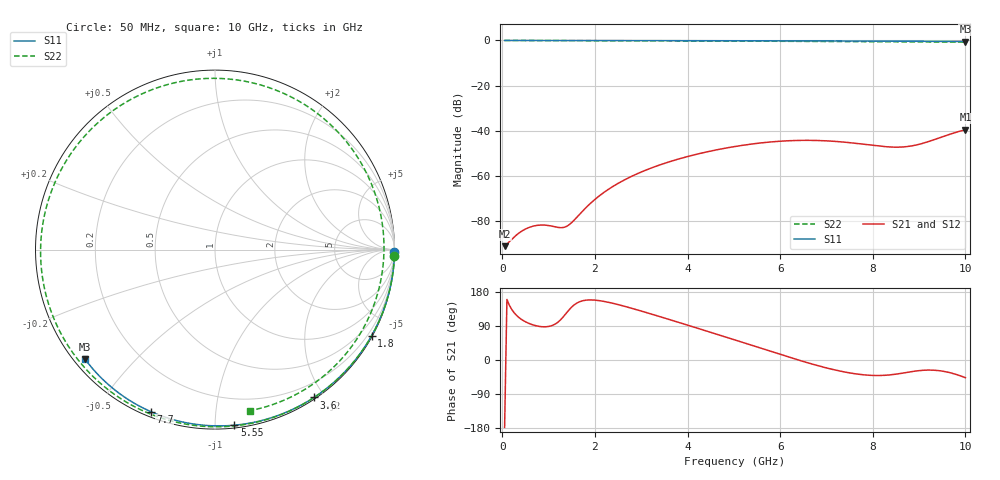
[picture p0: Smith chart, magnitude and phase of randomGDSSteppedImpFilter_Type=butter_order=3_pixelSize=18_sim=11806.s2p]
! freq	dB(S11)	phase(S11)	dB(S12)	phase(S12)
!  dB(S21)	phase(S21)	dB(S22)	phase(S22)
!S-par simulation data
#  GHz  S  DB  R 50
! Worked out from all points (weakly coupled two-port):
!   200 points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, 50 MHz to 10 GHz, reference 50 ohm
!   highest |S21| = -39.62 dB at 10 GHz (marker M1); lowest = -91.2 dB at 50 MHz (marker M2)
!   lowest |S11| = -0.5 dB at 10 GHz (marker M3), VSWR 36.56, Z = 1.55 - j18.2 ohm
!   |S11| at or under -10 dB: nowhere
!   |S22| runs from -0.7 to 0.0 dB; largest |S21 - S12| = 0
!   S11 on the Smith chart (normalised r, x): 50 MHz: open; 1.8 GHz: 0.03, -3.90; 3.6 GHz: 0.02, -1.87; 5.55 GHz: 0.02, -1.12; 7.7 GHz: 0.02, -0.68; 10 GHz: 0.03, -0.36
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0.05  -0.00 -0.8  -91.23 -177.8  -91.23 -177.8  -0.00 -2.0
0.7  -0.01 -11.3  -82.20 91.3  -82.20 91.3  -0.03 -28.4
1.5  -0.03 -24.1  -80.73 139.9  -80.73 139.9  -0.08 -59.9
1.75  -0.04 -28.0  -75.32 156.7  -75.32 156.7  -0.09 -69.6
1.8  -0.04 -28.8  -74.28 157.8  -74.28 157.8  -0.09 -71.5
2.15  -0.04 -34.2  -68.06 155.6  -68.06 155.6  -0.11 -84.8
2.6  -0.05 -41.2  -62.25 143.0  -62.25 143.0  -0.13 -101.7
3.4  -0.07 -53.2  -55.20 114.6  -55.20 114.6  -0.17 -131.5
3.6  -0.08 -56.2  -53.85 107.1  -53.85 107.1  -0.18 -138.9
4.35  -0.10 -67.0  -49.73 78.8  -49.73 78.8  -0.23 -167.6
5.05  -0.12 -76.9  -46.94 51.9  -46.94 51.9  -0.28 163.9
5.55  -0.14 -83.7  -45.52 32.4  -45.52 32.4  -0.32 141.9
6.15  -0.16 -91.8  -44.51 9.1  -44.51 9.1  -0.37 113.4
6.7  -0.19 -99.0  -44.32 -11.0  -44.32 -11.0  -0.41 85.2
7.2  -0.22 -105.4  -44.78 -26.7  -44.78 -26.7  -0.45 58.4
7.7  -0.26 -111.7  -45.78 -37.7  -45.78 -37.7  -0.48 31.1
8  -0.28 -115.4  -46.52 -40.7  -46.52 -40.7  -0.50 15.0
8.35  -0.31 -119.8  -47.21 -39.5  -47.21 -39.5  -0.53 -3.3
8.75  -0.34 -124.7  -47.04 -32.5  -47.04 -32.5  -0.57 -23.1
9.2  -0.39 -130.2  -44.87 -26.6  -44.87 -26.6  -0.62 -44.1
9.6  -0.43 -135.1  -42.04 -31.6  -42.04 -31.6  -0.68 -61.4
10  -0.48 -139.9  -39.62 -46.6  -39.62 -46.6  -0.74 -77.6
